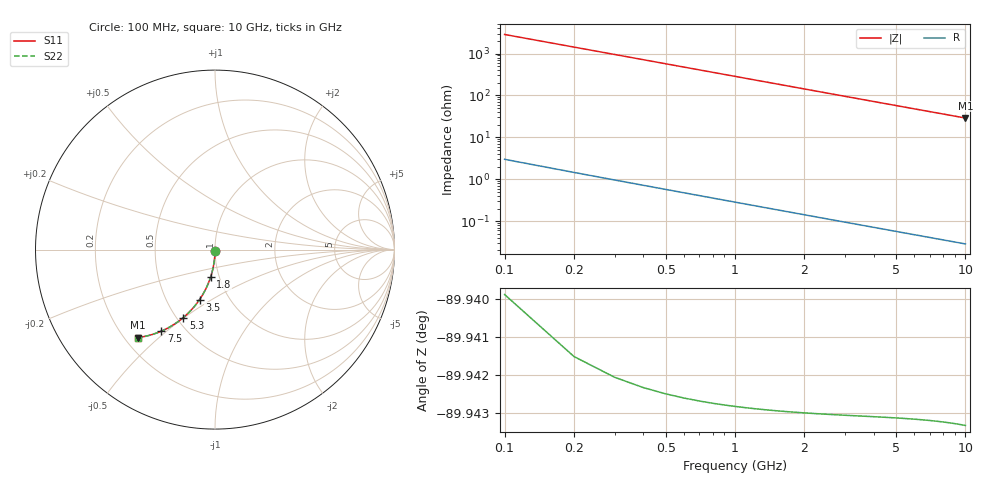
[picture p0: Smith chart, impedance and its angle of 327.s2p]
# Hz S RI R 50.00
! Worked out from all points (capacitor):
!   100 points, 100 MHz to 10 GHz, reference 50 ohm
!   read as one part in shunt: C = 559 fF near 100 MHz
!   lowest |Z| = 28.9 ohm at 10 GHz (marker M1)
!   S11 on the Smith chart (normalised r, x): 100 MHz: 1.00, -0.02; 1.8 GHz: 0.91, -0.29; 3.5 GHz: 0.73, -0.44; 5.3 GHz: 0.54, -0.50; 7.5 GHz: 0.37, -0.48; 10 GHz: 0.25, -0.43
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1e8  -7.88e-05 -0.00874  0.9999 -0.00881  0.9999 -0.00881  -7.88e-05 -0.00874
2e8  -0.000318 -0.0175  0.9997 -0.0176  0.9997 -0.0176  -0.000318 -0.0175
3e8  -0.000712 -0.0262  0.9993 -0.0264  0.9993 -0.0264  -0.000712 -0.0262
4e8  -0.00126 -0.0349  0.9987 -0.0352  0.9987 -0.0352  -0.00126 -0.0349
5e8  -0.00196 -0.0436  0.998 -0.044  0.998 -0.044  -0.00196 -0.0436
6e8  -0.00281 -0.0523  0.9972 -0.0527  0.9972 -0.0527  -0.00281 -0.0523
8e8  -0.00496 -0.0695  0.995 -0.0701  0.995 -0.0701  -0.00496 -0.0695
1.1e9  -0.00931 -0.0951  0.9907 -0.096  0.9907 -0.096  -0.00931 -0.0951
1.4e9  -0.0149 -0.1203  0.985 -0.1214  0.985 -0.1214  -0.0149 -0.1203
1.8e9  -0.0244 -0.1531  0.9756 -0.1546  0.9756 -0.1546  -0.0244 -0.1531
2.1e9  -0.0329 -0.177  0.9671 -0.1787  0.9671 -0.1787  -0.0329 -0.177
2.5e9  -0.0459 -0.2078  0.9541 -0.2097  0.9541 -0.2097  -0.0459 -0.2078
2.9e9  -0.0607 -0.2371  0.9393 -0.2394  0.9393 -0.2394  -0.0607 -0.2371
3.4e9  -0.0814 -0.2716  0.9186 -0.2743  0.9186 -0.2743  -0.0814 -0.2716
3.5e9  -0.0858 -0.2782  0.9142 -0.281  0.9142 -0.281  -0.0858 -0.2782
4.3e9  -0.1238 -0.3271  0.8762 -0.3306  0.8762 -0.3306  -0.1238 -0.3271
5.1e9  -0.1654 -0.369  0.8346 -0.3731  0.8346 -0.3731  -0.1654 -0.369
5.3e9  -0.1762 -0.3784  0.8237 -0.3827  0.8237 -0.3827  -0.1762 -0.3784
6.7e9  -0.254 -0.4321  0.7459 -0.4375  0.7459 -0.4375  -0.254 -0.4321
7.5e9  -0.2987 -0.4541  0.7013 -0.4602  0.7013 -0.4602  -0.2987 -0.4541
8.4e9  -0.3477 -0.4723  0.6522 -0.4792  0.6522 -0.4792  -0.3477 -0.4723
1e10  -0.4296 -0.4904  0.5703 -0.4986  0.5703 -0.4986  -0.4296 -0.4904
